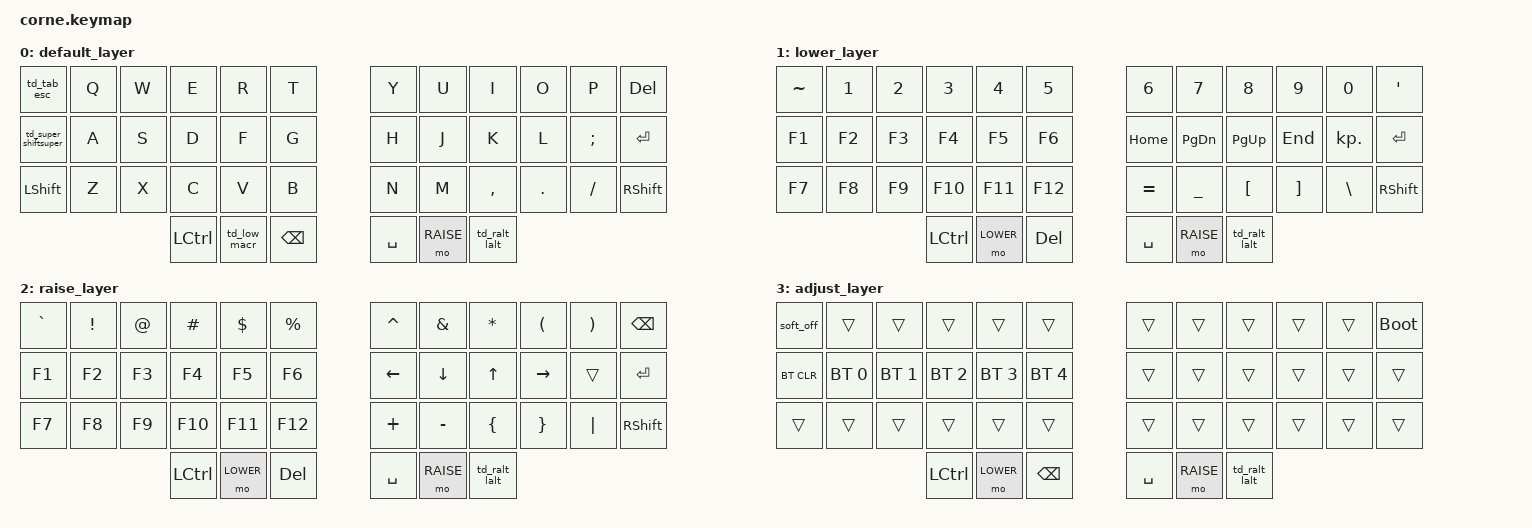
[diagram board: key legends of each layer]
/*
 * Copyright (c) 2020 The ZMK Contributors
 *
 * SPDX-License-Identifier: MIT
 */

#include <behaviors.dtsi>
#include <dt-bindings/zmk/keys.h>
#include <dt-bindings/zmk/bt.h>

#define QWERTY 0
#define LOWER  1
#define RAISE  2
#define ADJUST 3

/ {
        conditional_layers {
                compatible = "zmk,conditional-layers";
                adjust_layer {
                        if-layers = <1 2>;
                        then-layer = <3>;
                };
        };

        behaviors {
                td_tab_esc: tap_dance_tab_esc {
                        compatible = "zmk,behavior-tap-dance";
                        #binding-cells = <0>;
                        tapping-term-ms = <200>;
                        bindings = <&kp TAB>, <&kp ESC>;
                };

                td_ralt_lalt: tap_dance_ralt_lalt {
                        compatible = "zmk,behavior-tap-dance";
                        #binding-cells = <0>;
                        tapping-term-ms = <200>;
                        bindings = <&kp RALT>, <&kp LALT>;
                };

                td_super_shiftsuper: tap_dance_super_shiftsuper {
                        compatible = "zmk,behavior-tap-dance";
                        #binding-cells = <0>;
                        tapping-term-ms = <200>;
                        bindings = <&kp RGUI>, <&kp LS(RGUI)>;
                };

                td_low_macr: tap_dance_low_macr {
                        compatible = "zmk,behavior-tap-dance";
                        #binding-cells = <0>;
                        tapping-term-ms = <200>;
                        bindings = <&mo LOWER>, <&mo LOWER>;
                };
        };

        keymap {
                compatible = "zmk,keymap";

                default_layer {
// ,------------------------------------------.                    ,------------------------------------------.
// | TAB/ESC|  Q  |  W  |  E  |  R  |  T  |                    |  Y  |  U  |  I  |  O  |  P  |  DEL  |
// |SFT/GUI |  A  |  S  |  D  |  F  |  G  |                    |  H  |  J  |  K  |  L  |  ;  |  ENT  |
// | LSHFT  |  Z  |  X  |  C  |  V  |  B  |                    |  N  |  M  |  ,  |  .  |  /  | RSHFT |
//                      | LCTL| LWR | BSPC|                    | SPC | RSE |RALT/LALT|
                        bindings = <
   &td_tab_esc      &kp Q &kp W &kp E &kp R &kp T   &kp Y &kp U  &kp I     &kp O   &kp P    &kp DEL
   &td_super_shiftsuper &kp A &kp S &kp D &kp F &kp G   &kp H &kp J  &kp K     &kp L   &kp SEMI &kp RET
   &kp LSHFT        &kp Z &kp X &kp C &kp V &kp B   &kp N &kp M  &kp COMMA &kp DOT &kp FSLH &kp RSHFT
                  &kp LCTRL &td_low_macr &kp BSPC   &kp SPACE &mo RAISE &td_ralt_lalt
                        >;
                };

                lower_layer {
// ,------------------------------------------.                    ,------------------------------------------.
// |  ~  |  1  |  2  |  3  |  4  |  5  |                    |  6  |  7  |  8  |  9  |  0  |  '  |
// |  F1 |  F2 |  F3 |  F4 |  F5 |  F6 |                    | HOM | PDN | PUP | END |  .  | ENT |
// |  F7 |  F8 |  F9 | F10 | F11 | F12 |                    |  =  |  _  |  [  |  ]  |  \  |RSHFT|
//                   | LCTL| LWR | DEL |                    | SPC | RSE |RALT/LALT|
                        bindings = <
   &kp TILDE &kp N1 &kp N2 &kp N3  &kp N4  &kp N5    &kp N6    &kp N7    &kp N8    &kp N9   &kp N0   &kp SQT
   &kp F1    &kp F2 &kp F3 &kp F4  &kp F5  &kp F6    &kp HOME  &kp PG_DN &kp PG_UP &kp END  &kp KP_DOT &kp RET
   &kp F7    &kp F8 &kp F9 &kp F10 &kp F11 &kp F12   &kp EQUAL &kp UNDER &kp LBKT  &kp RBKT &kp BSLH &kp RSHFT
                  &kp LCTRL &mo LOWER &kp DEL   &kp SPACE &mo RAISE &td_ralt_lalt
                        >;
                };

                raise_layer {
// ,------------------------------------------.                    ,------------------------------------------.
// |  `  |  !  |  @  |  #  |  $  |  %  |                    |  ^  |  &  |  *  |  (  |  )  | BSPC|
// |  F1 |  F2 |  F3 |  F4 |  F5 |  F6 |                    | LFT | DWN |  UP | RGT |     | ENT |
// |  F7 |  F8 |  F9 | F10 | F11 | F12 |                    |  +  |  -  |  {  |  }  |  |  |RSHFT|
//                   | LCTL| LWR | DEL |                    | SPC | RSE |RALT/LALT|
                        bindings = <
   &kp GRAVE &kp EXCL &kp AT &kp HASH &kp DLLR &kp PRCNT   &kp CARET &kp AMPS  &kp ASTRK &kp LPAR &kp RPAR &kp BSPC
   &kp F1    &kp F2   &kp F3 &kp F4   &kp F5   &kp F6      &kp LEFT  &kp DOWN  &kp UP    &kp RIGHT &trans  &kp RET
   &kp F7    &kp F8   &kp F9 &kp F10  &kp F11  &kp F12     &kp PLUS  &kp MINUS &kp LBRC  &kp RBRC &kp PIPE &kp RSHFT
                    &kp LCTRL &mo LOWER &kp DEL   &kp SPACE &mo RAISE &td_ralt_lalt
                        >;
                };

                adjust_layer {
// ,------------------------------------------.                    ,------------------------------------------.
// | SOFF|     |     |     |     |     |                    |     |     |     |     |     | BOOT|
// |BTCLR| BT1 | BT2 | BT3 | BT4 | BT5 |                    |     |     |     |     |     |     |
// |     |     |     |     |     |     |                    |     |     |     |     |     |     |
//                   | LCTL| LWR | BSPC|                    | SPC | RSE |RALT/LALT|
                        bindings = <
   &soft_off   &trans       &trans       &trans       &trans       &trans         &trans &trans &trans &trans &trans &bootloader
   &bt BT_CLR  &bt BT_SEL 0 &bt BT_SEL 1 &bt BT_SEL 2 &bt BT_SEL 3 &bt BT_SEL 4   &trans &trans &trans &trans &trans &trans
   &trans      &trans       &trans       &trans       &trans       &trans         &trans &trans &trans &trans &trans &trans
                                    &kp LCTRL    &mo LOWER    &kp BSPC       &kp SPACE &mo RAISE &td_ralt_lalt
                        >;
                };
        };
};
